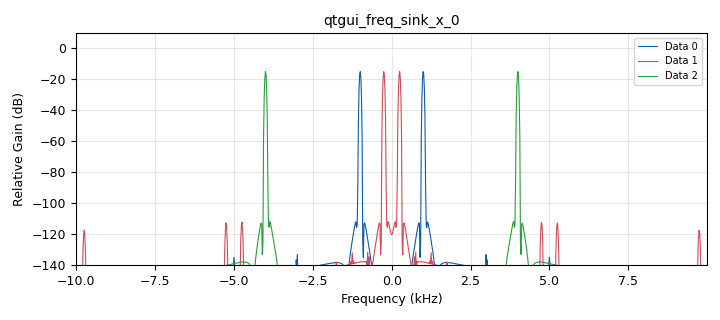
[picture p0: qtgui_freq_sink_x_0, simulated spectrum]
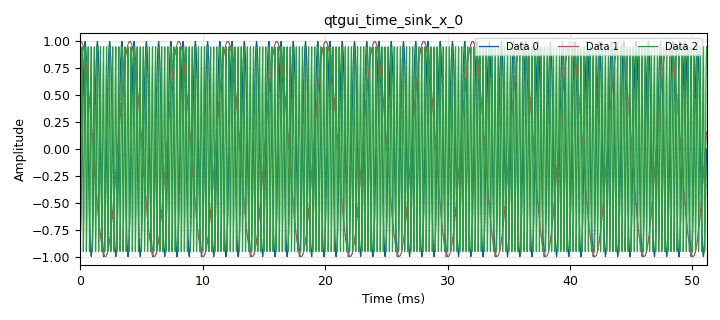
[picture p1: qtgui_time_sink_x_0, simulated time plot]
<?xml version='1.0' encoding='utf-8'?>
<?grc format='1' created='3.7.11'?>
<flow_graph>
<block>
<key>options</key>
<param><key>id</key><value>Resampling</value></param>
<param><key>author</key><value>Sébastien Dudek (@FlUxIuS)</value></param>
<param><key>description</key><value>Observe the effect of resampling</value></param>
<param><key>generate_options</key><value>qt_gui</value></param>
<param><key>title</key><value>Resamping effects</value></param>
</block>
<block>
<key>variable_qtgui_label</key>
<param><key>id</key><value>Event</value></param>
<param><key>value</key><value>@FlUxIuS - Synacktiv.com / PentHertz.com</value></param>
<param><key>label</key><value>GreHack Workshop 2019</value></param>
<param><key>type</key><value>string</value></param>
</block>
<block>
<key>variable</key>
<param><key>id</key><value>samp_rate</value></param>
<param><key>value</key><value>20e3</value></param>
</block>
<block>
<key>analog_sig_source_x</key>
<param><key>id</key><value>analog_sig_source_x_0</value></param>
<param><key>amp</key><value>1</value></param>
<param><key>freq</key><value>1000</value></param>
<param><key>offset</key><value>0</value></param>
<param><key>type</key><value>float</value></param>
<param><key>samp_rate</key><value>samp_rate</value></param>
<param><key>waveform</key><value>analog.GR_COS_WAVE</value></param>
</block>
<block>
<key>analog_sig_source_x</key>
<param><key>id</key><value>analog_sig_source_x_0_0</value></param>
<param><key>amp</key><value>1</value></param>
<param><key>freq</key><value>1000</value></param>
<param><key>offset</key><value>0</value></param>
<param><key>type</key><value>float</value></param>
<param><key>samp_rate</key><value>samp_rate</value></param>
<param><key>waveform</key><value>analog.GR_COS_WAVE</value></param>
</block>
<block>
<key>analog_sig_source_x</key>
<param><key>id</key><value>analog_sig_source_x_0_0_0</value></param>
<param><key>amp</key><value>1</value></param>
<param><key>freq</key><value>1000</value></param>
<param><key>offset</key><value>0</value></param>
<param><key>type</key><value>float</value></param>
<param><key>samp_rate</key><value>samp_rate</value></param>
<param><key>waveform</key><value>analog.GR_COS_WAVE</value></param>
</block>
<block>
<key>blocks_throttle</key>
<param><key>id</key><value>blocks_throttle_0</value></param>
<param><key>samples_per_second</key><value>samp_rate</value></param>
<param><key>type</key><value>float</value></param>
</block>
<block>
<key>blocks_throttle</key>
<param><key>id</key><value>blocks_throttle_0_0</value></param>
<param><key>samples_per_second</key><value>samp_rate</value></param>
<param><key>type</key><value>float</value></param>
</block>
<block>
<key>blocks_throttle</key>
<param><key>id</key><value>blocks_throttle_0_0_0</value></param>
<param><key>samples_per_second</key><value>samp_rate</value></param>
<param><key>type</key><value>float</value></param>
</block>
<block>
<key>qtgui_freq_sink_x</key>
<param><key>id</key><value>qtgui_freq_sink_x_0</value></param>
<param><key>bw</key><value>samp_rate</value></param>
<param><key>fc</key><value>0</value></param>
<param><key>ctrlpanel</key><value>True</value></param>
<param><key>fftsize</key><value>1024</value></param>
<param><key>label2</key><value></value></param>
<param><key>label3</key><value></value></param>
<param><key>nconnections</key><value>3</value></param>
<param><key>showports</key><value>True</value></param>
<param><key>type</key><value>float</value></param>
<param><key>wintype</key><value>firdes.WIN_BLACKMAN_hARRIS</value></param>
</block>
<block>
<key>qtgui_time_sink_x</key>
<param><key>id</key><value>qtgui_time_sink_x_0</value></param>
<param><key>ctrlpanel</key><value>True</value></param>
<param><key>color1</key><value>"blue"</value></param>
<param><key>label1</key><value></value></param>
<param><key>color2</key><value>"red"</value></param>
<param><key>label2</key><value></value></param>
<param><key>color3</key><value>"green"</value></param>
<param><key>label3</key><value></value></param>
<param><key>nconnections</key><value>3</value></param>
<param><key>size</key><value>1024</value></param>
<param><key>srate</key><value>samp_rate</value></param>
<param><key>type</key><value>float</value></param>
</block>
<block>
<key>rational_resampler_xxx</key>
<param><key>id</key><value>rational_resampler_xxx_0</value></param>
<param><key>decim</key><value>1</value></param>
<param><key>interp</key><value>1</value></param>
<param><key>taps</key><value></value></param>
<param><key>type</key><value>fff</value></param>
</block>
<block>
<key>rational_resampler_xxx</key>
<param><key>id</key><value>rational_resampler_xxx_0_0</value></param>
<param><key>decim</key><value>1</value></param>
<param><key>interp</key><value>4</value></param>
<param><key>taps</key><value></value></param>
<param><key>type</key><value>fff</value></param>
</block>
<block>
<key>rational_resampler_xxx</key>
<param><key>id</key><value>rational_resampler_xxx_0_0_0</value></param>
<param><key>decim</key><value>4</value></param>
<param><key>interp</key><value>1</value></param>
<param><key>taps</key><value></value></param>
<param><key>type</key><value>fff</value></param>
</block>
<connection><source_block_id>analog_sig_source_x_0</source_block_id><sink_block_id>rational_resampler_xxx_0</sink_block_id><source_key>0</source_key><sink_key>0</sink_key></connection>
<connection><source_block_id>analog_sig_source_x_0_0</source_block_id><sink_block_id>rational_resampler_xxx_0_0</sink_block_id><source_key>0</source_key><sink_key>0</sink_key></connection>
<connection><source_block_id>analog_sig_source_x_0_0_0</source_block_id><sink_block_id>rational_resampler_xxx_0_0_0</sink_block_id><source_key>0</source_key><sink_key>0</sink_key></connection>
<connection><source_block_id>blocks_throttle_0</source_block_id><sink_block_id>qtgui_freq_sink_x_0</sink_block_id><source_key>0</source_key><sink_key>0</sink_key></connection>
<connection><source_block_id>blocks_throttle_0</source_block_id><sink_block_id>qtgui_time_sink_x_0</sink_block_id><source_key>0</source_key><sink_key>0</sink_key></connection>
<connection><source_block_id>blocks_throttle_0_0</source_block_id><sink_block_id>qtgui_freq_sink_x_0</sink_block_id><source_key>0</source_key><sink_key>1</sink_key></connection>
<connection><source_block_id>blocks_throttle_0_0</source_block_id><sink_block_id>qtgui_time_sink_x_0</sink_block_id><source_key>0</source_key><sink_key>1</sink_key></connection>
<connection><source_block_id>blocks_throttle_0_0_0</source_block_id><sink_block_id>qtgui_freq_sink_x_0</sink_block_id><source_key>0</source_key><sink_key>2</sink_key></connection>
<connection><source_block_id>blocks_throttle_0_0_0</source_block_id><sink_block_id>qtgui_time_sink_x_0</sink_block_id><source_key>0</source_key><sink_key>2</sink_key></connection>
<connection><source_block_id>rational_resampler_xxx_0</source_block_id><sink_block_id>blocks_throttle_0</sink_block_id><source_key>0</source_key><sink_key>0</sink_key></connection>
<connection><source_block_id>rational_resampler_xxx_0_0</source_block_id><sink_block_id>blocks_throttle_0_0</sink_block_id><source_key>0</source_key><sink_key>0</sink_key></connection>
<connection><source_block_id>rational_resampler_xxx_0_0_0</source_block_id><sink_block_id>blocks_throttle_0_0_0</sink_block_id><source_key>0</source_key><sink_key>0</sink_key></connection>
</flow_graph>
